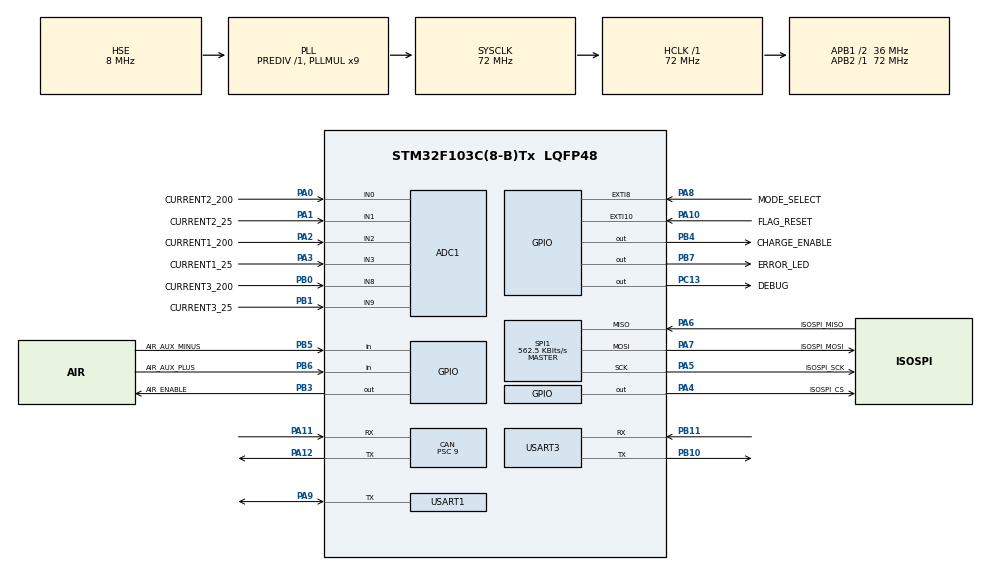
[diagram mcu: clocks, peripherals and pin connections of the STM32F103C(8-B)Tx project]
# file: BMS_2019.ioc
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ADC1.Channel-10\#ChannelRegularConversion=ADC_CHANNEL_0
ADC1.Channel-11\#ChannelRegularConversion=ADC_CHANNEL_1
ADC1.Channel-12\#ChannelRegularConversion=ADC_CHANNEL_2
ADC1.Channel-13\#ChannelRegularConversion=ADC_CHANNEL_3
ADC1.Channel-14\#ChannelRegularConversion=ADC_CHANNEL_9
ADC1.Channel-15\#ChannelRegularConversion=ADC_CHANNEL_8
ADC1.ContinuousConvMode=ENABLE
ADC1.DataAlign=ADC_DATAALIGN_RIGHT
ADC1.DiscontinuousConvMode=DISABLE
ADC1.EnableAnalogWatchDog=false
ADC1.EnableRegularConversion=ENABLE
ADC1.ExternalTrigConv=ADC_SOFTWARE_START
ADC1.InjNumberOfConversion=0
ADC1.NbrOfConversion=6
ADC1.NbrOfConversionFlag=1
ADC1.Rank-10\#ChannelRegularConversion=1
ADC1.Rank-11\#ChannelRegularConversion=2
ADC1.Rank-12\#ChannelRegularConversion=3
ADC1.Rank-13\#ChannelRegularConversion=4
ADC1.Rank-14\#ChannelRegularConversion=5
ADC1.Rank-15\#ChannelRegularConversion=6
ADC1.SamplingTime-10\#ChannelRegularConversion=ADC_SAMPLETIME_239CYCLES_5
ADC1.SamplingTime-11\#ChannelRegularConversion=ADC_SAMPLETIME_239CYCLES_5
ADC1.SamplingTime-12\#ChannelRegularConversion=ADC_SAMPLETIME_239CYCLES_5
ADC1.SamplingTime-13\#ChannelRegularConversion=ADC_SAMPLETIME_239CYCLES_5
ADC1.SamplingTime-14\#ChannelRegularConversion=ADC_SAMPLETIME_239CYCLES_5
ADC1.SamplingTime-15\#ChannelRegularConversion=ADC_SAMPLETIME_239CYCLES_5
ADC1.ScanConvMode=ADC_SCAN_ENABLE
ADC1.master=1
CAN.ABOM=ENABLE
CAN.BS1=CAN_BS1_6TQ
CAN.CalculateBaudRate=500000
CAN.CalculateTimeBit=2000
CAN.CalculateTimeQuantum=250.0
CAN.Prescaler=9
CAN.SJW=CAN_SJW_1TQ
Dma.ADC1.1.Direction=DMA_PERIPH_TO_MEMORY
Dma.ADC1.1.Instance=DMA1_Channel1
Dma.ADC1.1.MemDataAlignment=DMA_MDATAALIGN_WORD
Dma.ADC1.1.MemInc=DMA_MINC_ENABLE
Dma.ADC1.1.Mode=DMA_CIRCULAR
Dma.ADC1.1.PeriphDataAlignment=DMA_PDATAALIGN_WORD
Dma.ADC1.1.PeriphInc=DMA_PINC_DISABLE
Dma.ADC1.1.Priority=DMA_PRIORITY_VERY_HIGH
Dma.Request0=USART3_RX
Dma.Request1=ADC1
Dma.USART3_RX.0.Direction=DMA_PERIPH_TO_MEMORY
Dma.USART3_RX.0.Instance=DMA1_Channel3
Dma.USART3_RX.0.MemDataAlignment=DMA_MDATAALIGN_BYTE
Dma.USART3_RX.0.MemInc=DMA_MINC_ENABLE
Dma.USART3_RX.0.Mode=DMA_CIRCULAR
Dma.USART3_RX.0.PeriphDataAlignment=DMA_PDATAALIGN_BYTE
Dma.USART3_RX.0.PeriphInc=DMA_PINC_DISABLE
Dma.USART3_RX.0.Priority=DMA_PRIORITY_LOW
Mcu.Family=STM32F1
Mcu.Name=STM32F103C(8-B)Tx
Mcu.Package=LQFP48
Mcu.UserConstants=__DLC__,8
NVIC.ADC1_2_IRQn=true\:1\:0\:true\:false\:true\:true\:true\:true
NVIC.DMA1_Channel1_IRQn=true\:0\:0\:false\:false\:true\:false\:true\:true
NVIC.DMA1_Channel3_IRQn=true\:0\:0\:false\:false\:true\:false\:true\:true
NVIC.EXTI15_10_IRQn=true\:0\:0\:false\:false\:true\:true\:true\:true
NVIC.EXTI9_5_IRQn=true\:0\:0\:false\:false\:true\:true\:true\:true
NVIC.PriorityGroup=NVIC_PRIORITYGROUP_4
NVIC.TIM3_IRQn=true\:0\:0\:false\:false\:true\:true\:true\:true
NVIC.TIM4_IRQn=true\:0\:0\:false\:false\:true\:true\:true\:true
NVIC.USART3_IRQn=true\:0\:0\:false\:false\:true\:true\:true\:true
NVIC.USB_HP_CAN1_TX_IRQn=true\:0\:0\:false\:false\:true\:true\:true\:true
NVIC.USB_LP_CAN1_RX0_IRQn=true\:0\:0\:false\:false\:true\:true\:true\:true
PA0-WKUP.GPIO_Label=CURRENT2_200
PA0-WKUP.Signal=ADCx_IN0
PA1.GPIO_Label=CURRENT2_25
PA1.Signal=ADCx_IN1
PA10.GPIO_Label=FLAG_RESET
PA10.Signal=GPXTI10
PA11.Mode=CAN_Activate
PA11.Signal=CAN_RX
PA12.Mode=CAN_Activate
PA12.Signal=CAN_TX
PA13.Mode=Serial_Wire
PA13.Signal=SYS_JTMS-SWDIO
PA14.Mode=Serial_Wire
PA14.Signal=SYS_JTCK-SWCLK
PA15.GPIO_Label=GLV_SAMPLE
PA15.Signal=GPXTI15
PA2.GPIO_Label=CURRENT1_200
PA2.Signal=ADCx_IN2
PA3.GPIO_Label=CURRENT1_25
PA3.Signal=ADCx_IN3
PA4.GPIO_Label=ISOSPI_CS
PA4.GPIO_ModeDefaultOutputPP=GPIO_MODE_OUTPUT_PP
PA4.GPIO_Speed=GPIO_SPEED_FREQ_LOW
PA4.PinState=GPIO_PIN_RESET
PA4.Signal=GPIO_Output
PA5.GPIO_Label=ISOSPI_SCK
PA5.Mode=Full_Duplex_Master
PA5.Signal=SPI1_SCK
PA6.GPIO_Label=ISOSPI_MISO
PA6.GPIO_PuPd=GPIO_NOPULL
PA6.Mode=Full_Duplex_Master
PA6.Signal=SPI1_MISO
PA7.GPIO_Label=ISOSPI_MOSI
PA7.Mode=Full_Duplex_Master
PA7.Signal=SPI1_MOSI
PA8.GPIO_Label=MODE_SELECT
PA8.Signal=GPXTI8
PA9.Mode=Half_duplex(single_wire_mode)
PA9.Signal=USART1_TX
PB0.GPIO_Label=CURRENT3_200
PB0.Signal=ADCx_IN8
PB1.GPIO_Label=CURRENT3_25
PB1.Signal=ADCx_IN9
PB10.Mode=Asynchronous
PB10.Signal=USART3_TX
PB11.Mode=Asynchronous
PB11.Signal=USART3_RX
PB3.GPIO_Label=AIR_ENABLE
PB3.Signal=GPIO_Output
PB4.GPIO_Label=CHARGE_ENABLE
PB4.Signal=GPIO_Output
PB5.GPIO_Label=AIR_AUX_MINUS
PB5.Signal=GPIO_Input
PB6.GPIO_Label=AIR_AUX_PLUS
PB6.Signal=GPIO_Input
PB7.GPIO_Label=ERROR_LED
PB7.GPIO_ModeDefaultOutputPP=GPIO_MODE_OUTPUT_PP
PB7.PinState=GPIO_PIN_RESET
PB7.Signal=GPIO_Output
PC13-TAMPER-RTC.GPIO_Label=DEBUG
PC13-TAMPER-RTC.Signal=GPIO_Output
PD0-OSC_IN.GPIO_Label=OSCI
PD0-OSC_IN.Mode=HSE-External-Oscillator
PD0-OSC_IN.Signal=RCC_OSC_IN
PD1-OSC_OUT.GPIO_Label=OSCO
PD1-OSC_OUT.Mode=HSE-External-Oscillator
PD1-OSC_OUT.Signal=RCC_OSC_OUT
ProjectManager.HeapSize=0x200
ProjectManager.StackSize=0x400
ProjectManager.TargetToolchain=STM32CubeIDE
RCC.ADCPresc=RCC_ADCPCLK2_DIV6
RCC.AHBFreq_Value=72000000
RCC.APB1CLKDivider=RCC_HCLK_DIV2
RCC.APB1Freq_Value=36000000
RCC.APB1TimFreq_Value=72000000
RCC.APB2Freq_Value=72000000
RCC.APB2TimFreq_Value=72000000
RCC.HCLKFreq_Value=72000000
RCC.PLLMUL=RCC_PLL_MUL9
RCC.PLLSourceVirtual=RCC_PLLSOURCE_HSE
RCC.SYSCLKFreq_VALUE=72000000
RCC.SYSCLKSource=RCC_SYSCLKSOURCE_PLLCLK
RCC.USBFreq_Value=72000000
SH.ADCx_IN0.0=ADC2_IN0
SH.ADCx_IN0.1=ADC1_IN0,IN0
SH.ADCx_IN1.0=ADC2_IN1
SH.ADCx_IN1.1=ADC1_IN1,IN1
SH.ADCx_IN2.0=ADC1_IN2,IN2
SH.ADCx_IN3.0=ADC1_IN3,IN3
SH.ADCx_IN8.0=ADC1_IN8,IN8
SH.ADCx_IN9.0=ADC1_IN9,IN9
SPI1.BaudRatePrescaler=SPI_BAUDRATEPRESCALER_128
SPI1.CalculateBaudRate=562.5 KBits/s
SPI1.DataSize=SPI_DATASIZE_16BIT
SPI1.Direction=SPI_DIRECTION_2LINES
SPI1.Mode=SPI_MODE_MASTER
SPI1.VirtualType=VM_MASTER
TIM3.Period=5000
TIM3.Prescaler=7200
TIM4.Period=100
TIM4.Prescaler=720
USART1.VirtualMode=VM_ASYNC
USART3.VirtualMode=VM_ASYNC
VP_TIM3_VS_ClockSourceINT.Mode=Internal
VP_TIM4_VS_ClockSourceINT.Mode=Internal
board=BMS_2018

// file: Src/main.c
/* USER CODE BEGIN Header */
/**
  ******************************************************************************
  * @file           : main.c
  * @brief          : Main program body
  ******************************************************************************
  * @attention
  *
  * <h2><center>&copy; Copyright (c) 2020 STMicroelectronics.
  * All rights reserved.</center></h2>
  *
  * This software component is licensed by ST under BSD 3-Clause license,
  * the "License"; You may not use this file except in compliance with the
  * License. You may obtain a copy of the License at:
  *                        opensource.org/licenses/BSD-3-Clause
  *
  ******************************************************************************
  */
/* USER CODE END Header */
#include "main.h"

/* USER CODE BEGIN Includes */
#include "bms.h"
#include "constants.h"
#include "display.h"
#include "dwt_delay.h"
#include "CAN.h"
/* USER CODE END Includes */

ADC_HandleTypeDef hadc1;
DMA_HandleTypeDef hdma_adc1;

CAN_HandleTypeDef hcan;

SPI_HandleTypeDef hspi1;

TIM_HandleTypeDef htim3;
TIM_HandleTypeDef htim4;

UART_HandleTypeDef huart1;
UART_HandleTypeDef huart3;
DMA_HandleTypeDef hdma_usart3_rx;

/* USER CODE BEGIN PV */
/* Private variables ---------------------------------------------------------*/
static const float current_zero[ADC_BUFFER_SIZE] = {30.42034498, 231.15496333, 26.41619284, 233.1549633};
static const float current_gain[ADC_BUFFER_SIZE] = {0.01448599958, 0.113385857, 0.01318529399, 0.113385857}; //corretos pro acumulador
static int32_t adc_buffer[ADC_BUFFER_SIZE];

BMS_struct* BMS;
/* USER CODE END PV */

void SystemClock_Config(void);
static void MX_GPIO_Init(void);
static void MX_DMA_Init(void);
static void MX_ADC1_Init(void);
static void MX_CAN_Init(void);
static void MX_SPI1_Init(void);
static void MX_TIM3_Init(void);
static void MX_USART1_UART_Init(void);
static void MX_TIM4_Init(void);
static void MX_USART3_UART_Init(void);
/* USER CODE BEGIN PFP */
/* Private function prototypes -----------------------------------------------*/

/* USER CODE END PFP */

/* USER CODE BEGIN 0 */
float filter(float old, float new) {
	return (FILTER_GAIN * old + new) / (FILTER_GAIN + 1);
}

void HAL_ADC_ConvCpltCallback(ADC_HandleTypeDef * hadc) {
	for(uint8_t i = 0; i < ADC_BUFFER_SIZE; i++) {
		BMS->c_adc[i] = filter((float)BMS->c_adc[i], (float)adc_buffer[i]);
		BMS->current[i] = filter(BMS->current[i], ((float)adc_buffer[i] * current_gain[i]) - current_zero[i]);
	}
}
/* USER CODE END 0 */

int main(void)
{

  /* MCU Configuration--------------------------------------------------------*/

  /* Reset of all peripherals, Initializes the Flash interface and the Systick. */
  HAL_Init();

  /* Configure the system clock */
  SystemClock_Config();

  /* Initialize all configured peripherals */
  MX_GPIO_Init();
  MX_DMA_Init();
  MX_ADC1_Init();
  MX_CAN_Init();
  MX_SPI1_Init();
  MX_TIM3_Init();
  MX_USART1_UART_Init();
  MX_TIM4_Init();
  MX_USART3_UART_Init();
  /* USER CODE BEGIN 2 */

  HAL_FLASH_Unlock();

  DWT_Delay_Init();

  HAL_ADC_Start_DMA(&hadc1, (uint32_t*)adc_buffer, 6);
  USART_DMA_Init(&huart3, &hdma_usart3_rx);
  CAN_Init();

  HAL_TIM_Base_Start_IT(&htim3);
  HAL_TIM_Base_Start_IT(&htim4);

  BMS = (BMS_struct*) calloc(1, sizeof(BMS_struct));
  BMS_Init(BMS);

  DWT_Delay_us(50000);

  display_init();
  /* USER CODE END 2 */

  /* Infinite loop */
  /* USER CODE BEGIN WHILE */
  while (1)
  {
	  BMS_Monitoring(BMS);
	  	BMS_ErrorTreatment(BMS);
	  	BMS_Datalloger(BMS);
	  	display_show(BMS);
    /* USER CODE END WHILE */

  }
}

void SystemClock_Config(void)
{
  RCC_OscInitTypeDef RCC_OscInitStruct = {0};
  RCC_ClkInitTypeDef RCC_ClkInitStruct = {0};
  RCC_PeriphCLKInitTypeDef PeriphClkInit = {0};

  /** Initializes the RCC Oscillators according to the specified parameters
  * in the RCC_OscInitTypeDef structure.
  */
  RCC_OscInitStruct.OscillatorType = RCC_OSCILLATORTYPE_HSE;
  RCC_OscInitStruct.HSEState = RCC_HSE_ON;
  RCC_OscInitStruct.HSEPredivValue = RCC_HSE_PREDIV_DIV1;
  RCC_OscInitStruct.HSIState = RCC_HSI_ON;
  RCC_OscInitStruct.PLL.PLLState = RCC_PLL_ON;
  RCC_OscInitStruct.PLL.PLLSource = RCC_PLLSOURCE_HSE;
  RCC_OscInitStruct.PLL.PLLMUL = RCC_PLL_MUL9;
  if (HAL_RCC_OscConfig(&RCC_OscInitStruct) != HAL_OK)
  {
    Error_Handler();
  }

  /** Initializes the CPU, AHB and APB buses clocks
  */
  RCC_ClkInitStruct.ClockType = RCC_CLOCKTYPE_HCLK|RCC_CLOCKTYPE_SYSCLK
                              |RCC_CLOCKTYPE_PCLK1|RCC_CLOCKTYPE_PCLK2;
  RCC_ClkInitStruct.SYSCLKSource = RCC_SYSCLKSOURCE_PLLCLK;
  RCC_ClkInitStruct.AHBCLKDivider = RCC_SYSCLK_DIV1;
  RCC_ClkInitStruct.APB1CLKDivider = RCC_HCLK_DIV2;
  RCC_ClkInitStruct.APB2CLKDivider = RCC_HCLK_DIV1;

  if (HAL_RCC_ClockConfig(&RCC_ClkInitStruct, FLASH_LATENCY_2) != HAL_OK)
  {
    Error_Handler();
  }
  PeriphClkInit.PeriphClockSelection = RCC_PERIPHCLK_ADC;
  PeriphClkInit.AdcClockSelection = RCC_ADCPCLK2_DIV6;
  if (HAL_RCCEx_PeriphCLKConfig(&PeriphClkInit) != HAL_OK)
  {
    Error_Handler();
  }
}

static void MX_ADC1_Init(void)
{

  ADC_ChannelConfTypeDef sConfig = {0};

  /** Common config
  */
  hadc1.Instance = ADC1;
  hadc1.Init.ScanConvMode = ADC_SCAN_ENABLE;
  hadc1.Init.ContinuousConvMode = ENABLE;
  hadc1.Init.DiscontinuousConvMode = DISABLE;
  hadc1.Init.ExternalTrigConv = ADC_SOFTWARE_START;
  hadc1.Init.DataAlign = ADC_DATAALIGN_RIGHT;
  hadc1.Init.NbrOfConversion = 6;
  if (HAL_ADC_Init(&hadc1) != HAL_OK)
  {
    Error_Handler();
  }

  /** Configure Regular Channel
  */
  sConfig.Channel = ADC_CHANNEL_0;
  sConfig.Rank = ADC_REGULAR_RANK_1;
  sConfig.SamplingTime = ADC_SAMPLETIME_239CYCLES_5;
  if (HAL_ADC_ConfigChannel(&hadc1, &sConfig) != HAL_OK)
  {
    Error_Handler();
  }

  /** Configure Regular Channel
  */
  sConfig.Channel = ADC_CHANNEL_1;
  sConfig.Rank = ADC_REGULAR_RANK_2;
  if (HAL_ADC_ConfigChannel(&hadc1, &sConfig) != HAL_OK)
  {
    Error_Handler();
  }

  /** Configure Regular Channel
  */
  sConfig.Channel = ADC_CHANNEL_2;
  sConfig.Rank = ADC_REGULAR_RANK_3;
  if (HAL_ADC_ConfigChannel(&hadc1, &sConfig) != HAL_OK)
  {
    Error_Handler();
  }

  /** Configure Regular Channel
  */
  sConfig.Channel = ADC_CHANNEL_3;
  sConfig.Rank = ADC_REGULAR_RANK_4;
  if (HAL_ADC_ConfigChannel(&hadc1, &sConfig) != HAL_OK)
  {
    Error_Handler();
  }

  /** Configure Regular Channel
  */
  sConfig.Channel = ADC_CHANNEL_9;
  sConfig.Rank = ADC_REGULAR_RANK_5;
  if (HAL_ADC_ConfigChannel(&hadc1, &sConfig) != HAL_OK)
  {
    Error_Handler();
  }

  /** Configure Regular Channel
  */
  sConfig.Channel = ADC_CHANNEL_8;
  sConfig.Rank = ADC_REGULAR_RANK_6;
  if (HAL_ADC_ConfigChannel(&hadc1, &sConfig) != HAL_OK)
  {
    Error_Handler();
  }

}

static void MX_CAN_Init(void)
{

  hcan.Instance = CAN1;
  hcan.Init.Prescaler = 9;
  hcan.Init.Mode = CAN_MODE_NORMAL;
  hcan.Init.SyncJumpWidth = CAN_SJW_1TQ;
  hcan.Init.TimeSeg1 = CAN_BS1_6TQ;
  hcan.Init.TimeSeg2 = CAN_BS2_1TQ;
  hcan.Init.TimeTriggeredMode = DISABLE;
  hcan.Init.AutoBusOff = ENABLE;
  hcan.Init.AutoWakeUp = DISABLE;
  hcan.Init.AutoRetransmission = DISABLE;
  hcan.Init.ReceiveFifoLocked = DISABLE;
  hcan.Init.TransmitFifoPriority = DISABLE;
  if (HAL_CAN_Init(&hcan) != HAL_OK)
  {
    Error_Handler();
  }

}

static void MX_SPI1_Init(void)
{

  /* SPI1 parameter configuration*/
  hspi1.Instance = SPI1;
  hspi1.Init.Mode = SPI_MODE_MASTER;
  hspi1.Init.Direction = SPI_DIRECTION_2LINES;
  hspi1.Init.DataSize = SPI_DATASIZE_16BIT;
  hspi1.Init.CLKPolarity = SPI_POLARITY_LOW;
  hspi1.Init.CLKPhase = SPI_PHASE_1EDGE;
  hspi1.Init.NSS = SPI_NSS_SOFT;
  hspi1.Init.BaudRatePrescaler = SPI_BAUDRATEPRESCALER_128;
  hspi1.Init.FirstBit = SPI_FIRSTBIT_MSB;
  hspi1.Init.TIMode = SPI_TIMODE_DISABLE;
  hspi1.Init.CRCCalculation = SPI_CRCCALCULATION_DISABLE;
  hspi1.Init.CRCPolynomial = 10;
  if (HAL_SPI_Init(&hspi1) != HAL_OK)
  {
    Error_Handler();
  }

}

static void MX_TIM3_Init(void)
{

  TIM_ClockConfigTypeDef sClockSourceConfig = {0};
  TIM_MasterConfigTypeDef sMasterConfig = {0};

  htim3.Instance = TIM3;
  htim3.Init.Prescaler = 7200;
  htim3.Init.CounterMode = TIM_COUNTERMODE_UP;
  htim3.Init.Period = 5000;
  htim3.Init.ClockDivision = TIM_CLOCKDIVISION_DIV1;
  htim3.Init.AutoReloadPreload = TIM_AUTORELOAD_PRELOAD_DISABLE;
  if (HAL_TIM_Base_Init(&htim3) != HAL_OK)
  {
    Error_Handler();
  }
  sClockSourceConfig.ClockSource = TIM_CLOCKSOURCE_INTERNAL;
  if (HAL_TIM_ConfigClockSource(&htim3, &sClockSourceConfig) != HAL_OK)
  {
    Error_Handler();
  }
  sMasterConfig.MasterOutputTrigger = TIM_TRGO_RESET;
  sMasterConfig.MasterSlaveMode = TIM_MASTERSLAVEMODE_DISABLE;
  if (HAL_TIMEx_MasterConfigSynchronization(&htim3, &sMasterConfig) != HAL_OK)
  {
    Error_Handler();
  }

}

static void MX_TIM4_Init(void)
{

  TIM_ClockConfigTypeDef sClockSourceConfig = {0};
  TIM_MasterConfigTypeDef sMasterConfig = {0};

  htim4.Instance = TIM4;
  htim4.Init.Prescaler = 720;
  htim4.Init.CounterMode = TIM_COUNTERMODE_UP;
  htim4.Init.Period = 100;
  htim4.Init.ClockDivision = TIM_CLOCKDIVISION_DIV1;
  htim4.Init.AutoReloadPreload = TIM_AUTORELOAD_PRELOAD_DISABLE;
  if (HAL_TIM_Base_Init(&htim4) != HAL_OK)
  {
    Error_Handler();
  }
  sClockSourceConfig.ClockSource = TIM_CLOCKSOURCE_INTERNAL;
  if (HAL_TIM_ConfigClockSource(&htim4, &sClockSourceConfig) != HAL_OK)
  {
    Error_Handler();
  }
  sMasterConfig.MasterOutputTrigger = TIM_TRGO_RESET;
  sMasterConfig.MasterSlaveMode = TIM_MASTERSLAVEMODE_DISABLE;
  if (HAL_TIMEx_MasterConfigSynchronization(&htim4, &sMasterConfig) != HAL_OK)
  {
    Error_Handler();
  }

}

static void MX_USART1_UART_Init(void)
{

  huart1.Instance = USART1;
  huart1.Init.BaudRate = 115200;
  huart1.Init.WordLength = UART_WORDLENGTH_8B;
  huart1.Init.StopBits = UART_STOPBITS_1;
  huart1.Init.Parity = UART_PARITY_NONE;
  huart1.Init.Mode = UART_MODE_TX_RX;
  huart1.Init.HwFlowCtl = UART_HWCONTROL_NONE;
  huart1.Init.OverSampling = UART_OVERSAMPLING_16;
  if (HAL_HalfDuplex_Init(&huart1) != HAL_OK)
  {
    Error_Handler();
  }

}

static void MX_USART3_UART_Init(void)
{

  huart3.Instance = USART3;
  huart3.Init.BaudRate = 115200;
  huart3.Init.WordLength = UART_WORDLENGTH_8B;
  huart3.Init.StopBits = UART_STOPBITS_1;
  huart3.Init.Parity = UART_PARITY_NONE;
  huart3.Init.Mode = UART_MODE_TX_RX;
  huart3.Init.HwFlowCtl = UART_HWCONTROL_NONE;
  huart3.Init.OverSampling = UART_OVERSAMPLING_16;
  if (HAL_UART_Init(&huart3) != HAL_OK)
  {
    Error_Handler();
  }

}

static void MX_DMA_Init(void)
{

  /* DMA controller clock enable */
  __HAL_RCC_DMA1_CLK_ENABLE();

  /* DMA interrupt init */
  /* DMA1_Channel1_IRQn interrupt configuration */
  HAL_NVIC_SetPriority(DMA1_Channel1_IRQn, 0, 0);
  HAL_NVIC_EnableIRQ(DMA1_Channel1_IRQn);
  /* DMA1_Channel3_IRQn interrupt configuration */
  HAL_NVIC_SetPriority(DMA1_Channel3_IRQn, 0, 0);
  HAL_NVIC_EnableIRQ(DMA1_Channel3_IRQn);

}

static void MX_GPIO_Init(void)
{
  GPIO_InitTypeDef GPIO_InitStruct = {0};

  /* GPIO Ports Clock Enable */
  __HAL_RCC_GPIOC_CLK_ENABLE();
  __HAL_RCC_GPIOD_CLK_ENABLE();
  __HAL_RCC_GPIOA_CLK_ENABLE();
  __HAL_RCC_GPIOB_CLK_ENABLE();

  /*Configure GPIO pin Output Level */
  HAL_GPIO_WritePin(DEBUG_GPIO_Port, DEBUG_Pin, GPIO_PIN_RESET);

  /*Configure GPIO pin Output Level */
  HAL_GPIO_WritePin(ISOSPI_CS_GPIO_Port, ISOSPI_CS_Pin, GPIO_PIN_RESET);

  /*Configure GPIO pin Output Level */
  HAL_GPIO_WritePin(GPIOB, AIR_ENABLE_Pin|CHARGE_ENABLE_Pin|ERROR_LED_Pin, GPIO_PIN_RESET);

  /*Configure GPIO pin : DEBUG_Pin */
  GPIO_InitStruct.Pin = DEBUG_Pin;
  GPIO_InitStruct.Mode = GPIO_MODE_OUTPUT_PP;
  GPIO_InitStruct.Pull = GPIO_NOPULL;
  GPIO_InitStruct.Speed = GPIO_SPEED_FREQ_LOW;
  HAL_GPIO_Init(DEBUG_GPIO_Port, &GPIO_InitStruct);

  /*Configure GPIO pins : CURRENT2_200_Pin CURRENT2_25_Pin */
  GPIO_InitStruct.Pin = CURRENT2_200_Pin|CURRENT2_25_Pin;
  GPIO_InitStruct.Mode = GPIO_MODE_ANALOG;
  HAL_GPIO_Init(GPIOA, &GPIO_InitStruct);

  /*Configure GPIO pin : ISOSPI_CS_Pin */
  GPIO_InitStruct.Pin = ISOSPI_CS_Pin;
  GPIO_InitStruct.Mode = GPIO_MODE_OUTPUT_PP;
  GPIO_InitStruct.Pull = GPIO_NOPULL;
  GPIO_InitStruct.Speed = GPIO_SPEED_FREQ_LOW;
  HAL_GPIO_Init(ISOSPI_CS_GPIO_Port, &GPIO_InitStruct);

  /*Configure GPIO pins : MODE_SELECT_Pin FLAG_RESET_Pin GLV_SAMPLE_Pin */
  GPIO_InitStruct.Pin = MODE_SELECT_Pin|FLAG_RESET_Pin|GLV_SAMPLE_Pin;
  GPIO_InitStruct.Mode = GPIO_MODE_IT_RISING;
  GPIO_InitStruct.Pull = GPIO_NOPULL;
  HAL_GPIO_Init(GPIOA, &GPIO_InitStruct);

  /*Configure GPIO pins : AIR_ENABLE_Pin CHARGE_ENABLE_Pin ERROR_LED_Pin */
  GPIO_InitStruct.Pin = AIR_ENABLE_Pin|CHARGE_ENABLE_Pin|ERROR_LED_Pin;
  GPIO_InitStruct.Mode = GPIO_MODE_OUTPUT_PP;
  GPIO_InitStruct.Pull = GPIO_NOPULL;
  GPIO_InitStruct.Speed = GPIO_SPEED_FREQ_LOW;
  HAL_GPIO_Init(GPIOB, &GPIO_InitStruct);

  /*Configure GPIO pins : AIR_AUX_MINUS_Pin AIR_AUX_PLUS_Pin */
  GPIO_InitStruct.Pin = AIR_AUX_MINUS_Pin|AIR_AUX_PLUS_Pin;
  GPIO_InitStruct.Mode = GPIO_MODE_INPUT;
  GPIO_InitStruct.Pull = GPIO_NOPULL;
  HAL_GPIO_Init(GPIOB, &GPIO_InitStruct);

  /* EXTI interrupt init*/
  HAL_NVIC_SetPriority(EXTI9_5_IRQn, 0, 0);
  HAL_NVIC_EnableIRQ(EXTI9_5_IRQn);

  HAL_NVIC_SetPriority(EXTI15_10_IRQn, 0, 0);
  HAL_NVIC_EnableIRQ(EXTI15_10_IRQn);

}

void Error_Handler(void)
{
  /* USER CODE BEGIN Error_Handler_Debug */
	/* User can add his own implementation to report the HAL error return state */
		charger_disable();
		open_shutdown_circuit();
		bms_indicator_light_turn(ON);
		led_debug_turn(ON);

	while(1)
	{

	}
  /* USER CODE END Error_Handler_Debug */
}
